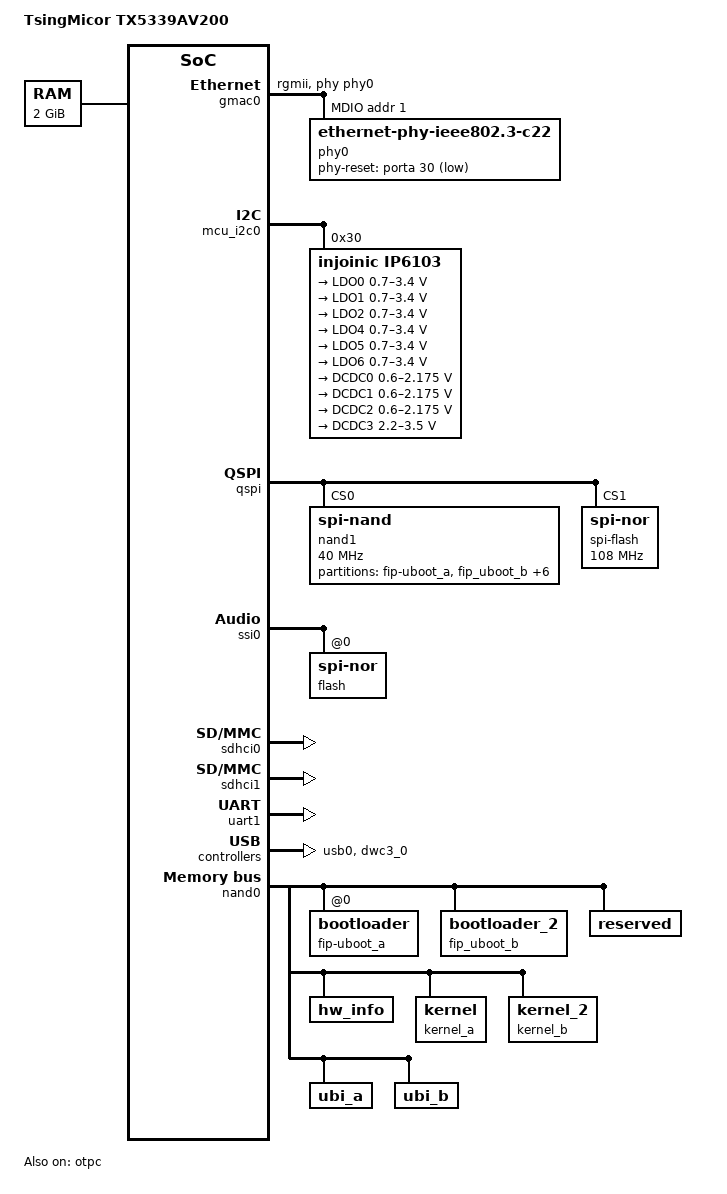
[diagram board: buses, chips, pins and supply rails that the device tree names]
// SPDX-License-Identifier: GPL-2.0+
/*
 * dts file for tsingmicro tx5339
 *
 * Copyright 2022 Beijing Tsingmicro Intelligent Technology Co.,Ltd.
 *
 */

/dts-v1/;

#include "ts_tx536.dtsi"
#include "ts-tx536-clk.dtsi"
#include "ts-tx536-reset.dtsi"
#include "ts-tx536-pinctrl.dtsi"
#include <dt-bindings/input/input.h>
#include <dt-bindings/gpio/gpio.h>
#include <dt-bindings/phy/phy.h>

/ {
	model = "TsingMicor TX5339AV200";
	compatible = "ts,tx5339av200-evb";

	bd_info {
		/* Hardware Board Name. */
		BOARD-MODEL = "TS-TX5339-EVB";
		/* Hardware Version Number. */
		BOARD-REVISION = "V1.0";
		/* Type - CPU - DDR - compile NO. - device NO. - Factory NO.-YYMM */
		BOARD-SERIAL = "IPC-A53-0201-0000-T001-2211";
	};

	aliases {
		/*ethernet0 = &gem3;*/
		/* gpio0 = &gpio; */
		/*i2c0 = &i2c0;*/
		/*i2c1 = &i2c1;*/
		mmc0 = &sdhci0;
		sd0 = &sdhci1;
		/*rtc0 = &rtc;*/
		serial0 = &uart1;
		/*serial1 = &uart1;*/
		/*serial2 = &dcc;*/
		spi0 = &qspi;
		usb0 = &usb0;
		spi1 = &ssi0;
	};

	chosen {
		bootargs = "earlycon";
		stdout-path = "serial0:115200n8";
	};

	memory@0 {
		device_type = "memory";
		reg = <0x0 0x0 0x0 0x80000000>; //<0x8 0x00000000 0x0 0x80000000>;
	};

};

&gmac0 {
	status = "okay";
	phy-handle = <&phy0>;
	phy-mode = "rgmii";
	pinctrl-names = "default";
	pinctrl-0 = <&gmac_pinctrl_1>;
	mdio {
		#address-cells = <0x1>;
		#size-cells = <0x0>;
		phy0: phy@0 {
			compatible = "ethernet-phy-ieee802.3-c22";
			device_type = "ethernet-phy";
			reg = <0x1>;
			phy-reset-gpios = <&porta 30 GPIO_ACTIVE_LOW>;
		};
	};
};

&gpio0 {
	status = "okay";
};

&gpio1 {
	status = "okay";
};

&gpio2 {
	status = "okay";
};

&pinctrl {
	status = "okay";
};

&mcu_i2c0 {
	status = "okay";
	pinctrl-names = "default";
	pinctrl-0 = <&mcu_i2c0_pinctrl>;
	ip6103@30 {
		compatible = "injoinic,ip6103";
		reg = <0x30>;
		voltage-regulators {
			LDO0: LDO0 {
			     regulator-name = "LDO0";
			     regulator-min-microvolt = <700000>;
			     regulator-max-microvolt = <3400000>;
			};

			LDO1: LDO1 {
			     regulator-name = "LDO1";
			     regulator-min-microvolt = <700000>;
			     regulator-max-microvolt = <3400000>;
			};

			LDO2: LDO2 {
			     regulator-name = "LDO2";
			     regulator-min-microvolt = <700000>;
			     regulator-max-microvolt = <3400000>;
			};

			LDO4: LDO4 {
			     regulator-name = "LDO4";
			     regulator-min-microvolt = <700000>;
			     regulator-max-microvolt = <3400000>;
			};

			LDO5: LDO5 {
			     regulator-name = "LDO5";
			     regulator-min-microvolt = <700000>;
			     regulator-max-microvolt = <3400000>;
			};

			LDO6: LDO6 {
			     regulator-name = "LDO6";
			     regulator-min-microvolt = <700000>;
			     regulator-max-microvolt = <3400000>;
			};

			DCDC0: DCDC0 {
			     regulator-name = "DCDC0";
			     regulator-min-microvolt = <600000>;
			     regulator-max-microvolt = <2175000>;
			};

			DCDC1: DCDC1 {
			     regulator-name = "DCDC1";
			     regulator-min-microvolt = <600000>;
			     regulator-max-microvolt = <2175000>;
			};

			DCDC2: DCDC2 {
			     regulator-name = "DCDC2";
			     regulator-min-microvolt = <600000>;
			     regulator-max-microvolt = <2175000>;
			};

			DCDC3: DCDC3 {
			     regulator-name = "DCDC3";
			     regulator-min-microvolt = <2200000>;
			     regulator-max-microvolt = <3500000>;
			};

		};
	};
};

&qspi {
	status = "okay";
	page-size = <256>;
	block-size = <16>;
	#address-cells = <1>;
	#size-cells = <0>;

	pinctrl-names = "default";
	pinctrl-0 = <&ospi0_pinctrl>;
	/* 3.3v needed */
	/*pinctrl-0 = <&ospi1_pinctrl &ospi0_gpio_pinctrl>;*/

	nand1:spi-nand@0 {
		status = "okay";
		compatible = "spi-nand";
		reg = <0>; /* CS0 */
		//spi-max-frequency = <40000000>;
		spi-max-frequency = <40000000>;
		page-size = <2048>;
		block-size = <131072>;
		spi-rx-bus-width = <4>;
		spi-tx-bus-width = <4>;

		partitions {
			compatible = "fixed-partitions";
			#address-cells = <1>;
			#size-cells = <1>;

			/* reserved for future boot direct from NAND flash
			 * (this would use the same layout as the 8MiB NOR flash)
			 */
			bootloader@000000 {
				label = "fip-uboot_a";
				reg = <0x000000 0x200000>;
			};

			bootloader_2@200000 {
				label = "fip_uboot_b";
				reg = <0x200000 0x200000>;
			};

			reserved@400000 {
				label = "reserved";
				reg = <0x400000 0x100000>;
			};

			hw_info@500000 {
				label = "hw_info";
				reg = <0x500000 0x100000>;
			};

			kernel@600000 {
				label = "kernel_a";
				reg = <0x600000 0x1000000>;
			};
			kernel_2@1600000 {
				label = "kernel_b";
				reg = <0x1600000 0x1000000>;
			};
			rootfs1@2600000 {
				label = "ubi_a";
				reg = <0x2600000 0x6d00000>;
			};

			rootfs2@9300000 {
				label = "ubi_b";
				reg = <0x9300000 0x6d00000>;
			};

		};
	};

	spi-flash@0 {
		compatible = "jedec,spi-nor";
		spi-max-frequency = <108000000>; /* Based on DC1 spec */
		reg = <1>; /* CS1 */
	};
};

&ssi0 {
	status = "okay";
	flash@0 {
		compatible = "jedec,spi-nor";
	};
};
/*
 *&rtc {
 *	status = "okay";
 *};
 */

/* SD1 with level shifter */
&sdhci0 {
	status = "okay";
};
&sdhci1 {
	status = "okay";
};

/*
 *&uart0 {
 *	status = "okay";
 *};
 */
&uart1 {
	status = "okay";
};

/* ULPI SMSC USB3320 */

&usb0 {
	status = "okay";
};

&dwc3_0 {
	status = "okay";
};


/*
 *&watchdog0 {
 *	status = "okay";
 *};
 */

&nand0{
		nand-bus-width = <8>;
		nand-on-flash-bbt = <0>;
		nand-ecc-mode = "hw";
		nand-ecc-strength = <4>;
		nand-ecc-step-size = <512>;
		pinctrl-names = "default";
		pinctrl-0 = <&nf_pinctrl_0 &nf_pinctrl_1>;
		nand-max-frequency = <40000000>;
		/*nand-ecc-maximize;*/
		status = "okay";

		bootloader@000000 {
			label = "fip-uboot_a";
			reg = <0x000000 0x200000>;
		};

		bootloader_2@200000 {
			label = "fip_uboot_b";
			reg = <0x200000 0x200000>;
		};

		reserved@400000 {
			label = "reserved";
			reg = <0x400000 0x100000>;
		};

		hw_info@500000 {
			label = "hw_info";
			reg = <0x500000 0x100000>;
		};

		kernel@600000 {
			label = "kernel_a";
			reg = <0x600000 0x1000000>;
		};
		kernel_2@1600000 {
			label = "kernel_b";
			reg = <0x1600000 0x1000000>;
		};
		ubi_a@2600000 {
			label = "ubi_a";
			reg = <0x2600000 0x6d00000>;
		};

		ubi_b@9300000 {
			label = "ubi_b";
			reg = <0x9300000 0x6d00000>;
		};
};

&otpc {
	status = "okay";
};
